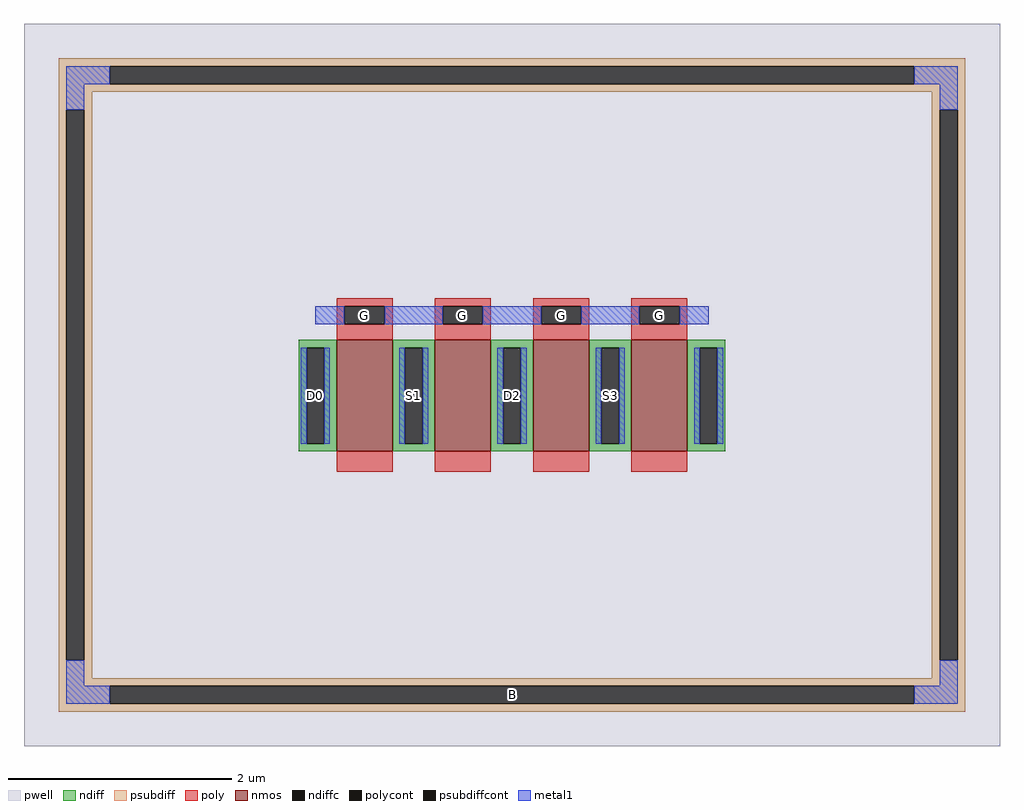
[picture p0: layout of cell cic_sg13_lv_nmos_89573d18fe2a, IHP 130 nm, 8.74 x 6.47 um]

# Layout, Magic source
magic
tech ihp-sg13cmos5l
magscale 1 2
<< pwell >>
rect -874 -647 874 647
<< nmos >>
rect -314 -119 -214 81
rect -138 -119 -38 81
rect 38 -119 138 81
rect 214 -119 314 81
<< ndiff >>
rect -382 67 -314 81
rect -382 -105 -368 67
rect -336 -105 -314 67
rect -382 -119 -314 -105
rect -214 67 -138 81
rect -214 -105 -192 67
rect -160 -105 -138 67
rect -214 -119 -138 -105
rect -38 67 38 81
rect -38 -105 -16 67
rect 16 -105 38 67
rect -38 -119 38 -105
rect 138 67 214 81
rect 138 -105 160 67
rect 192 -105 214 67
rect 138 -119 214 -105
rect 314 67 382 81
rect 314 -105 336 67
rect 368 -105 382 67
rect 314 -119 382 -105
<< ndiffc >>
rect -368 -105 -336 67
rect -192 -105 -160 67
rect -16 -105 16 67
rect 160 -105 192 67
rect 336 -105 368 67
<< psubdiff >>
rect -812 571 812 585
rect -812 539 -720 571
rect 720 539 812 571
rect -812 525 812 539
rect -812 493 -752 525
rect -812 -493 -798 493
rect -766 -493 -752 493
rect 752 493 812 525
rect -812 -525 -752 -493
rect 752 -493 766 493
rect 798 -493 812 493
rect 752 -525 812 -493
rect -812 -539 812 -525
rect -812 -571 -720 -539
rect 720 -571 812 -539
rect -812 -585 812 -571
<< psubdiffcont >>
rect -720 539 720 571
rect -798 -493 -766 493
rect 766 -493 798 493
rect -720 -571 720 -539
<< poly >>
rect -314 141 -214 155
rect -314 109 -300 141
rect -228 109 -214 141
rect -314 81 -214 109
rect -138 141 -38 155
rect -138 109 -124 141
rect -52 109 -38 141
rect -138 81 -38 109
rect 38 141 138 155
rect 38 109 52 141
rect 124 109 138 141
rect 38 81 138 109
rect 214 141 314 155
rect 214 109 228 141
rect 300 109 314 141
rect 214 81 314 109
rect -314 -155 -214 -119
rect -138 -155 -38 -119
rect 38 -155 138 -119
rect 214 -155 314 -119
<< polycont >>
rect -300 109 -228 141
rect -124 109 -52 141
rect 52 109 124 141
rect 228 109 300 141
<< metal1 >>
rect -798 539 -720 571
rect 720 539 798 571
rect -798 493 -766 539
rect 766 493 798 539
rect -352 109 -300 141
rect -228 109 -124 141
rect -52 109 52 141
rect 124 109 228 141
rect 300 109 352 141
rect -378 -105 -368 67
rect -336 -105 -326 67
rect -202 -105 -192 67
rect -160 -105 -150 67
rect -26 -105 -16 67
rect 16 -105 26 67
rect 150 -105 160 67
rect 192 -105 202 67
rect 326 -105 336 67
rect 368 -105 378 67
rect -798 -539 -766 -493
rect 766 -539 798 -493
rect -798 -571 -720 -539
rect 720 -571 798 -539
<< labels >>
rlabel psubdiffcont 0 -555 0 -555 0 B
port 1 nsew
rlabel ndiffc -352 -19 -352 -19 0 D0
port 2 nsew
rlabel polycont -264 125 -264 125 0 G
port 3 nsew
rlabel ndiffc -176 -19 -176 -19 0 S1
port 4 nsew
rlabel polycont -88 125 -88 125 0 G
port 3 nsew
rlabel ndiffc 0 -19 0 -19 0 D2
port 5 nsew
rlabel polycont 88 125 88 125 0 G
port 3 nsew
rlabel ndiffc 176 -19 176 -19 0 S3
port 6 nsew
rlabel polycont 264 125 264 125 0 G
port 3 nsew
<< properties >>
string FIXED_BBOX -782 -555 782 555
string gencell sg13_lv_nmos
string library sg13cmos5l
string parameters w 1.0 l 0.5 m 1 ng 4 diffcov 100 polycov 100 guard 1 glc 1 grc 1 gtc 1 gbc 1 tbcov 100 rlcov 100 topc 1 botc 0 poverlap 0 doverlap 1 lmin 0.13 wmin 0.15 class mosfet compatible {sg13_lv_nmos sg13_hv_nmos} full_metal 1 conn_gates 1 gate_ring 0 doports 1 viasrc 0 viadrn 0 viagate 0 ccols 1 viagb 0 viagr 0 viagl 0 viagt 0 set_x_to_guard 2.0 set_y_to_guard 2.0
<< end >>
